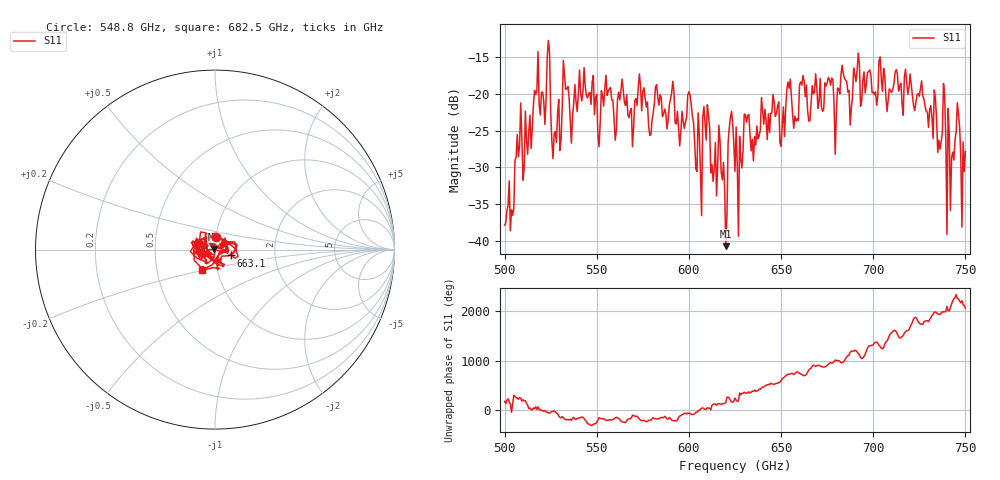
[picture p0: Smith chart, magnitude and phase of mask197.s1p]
!Created with skrf (http://scikit-rf.org).
# GHz S MA R 50.0
!freq magS11 angS11
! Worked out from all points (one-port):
!   401 points, 500 GHz to 750 GHz, reference 50 ohm
!   lowest |S11| = -40.8 dB at 620 GHz (marker M1), VSWR 1.02, Z = 49.2 + j0.393 ohm
!   |S11| at or under -10 dB: start of sweep to end of sweep
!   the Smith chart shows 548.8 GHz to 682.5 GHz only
!   S11 on the Smith chart (normalised r, x): 548.8 GHz: 1.00, +0.15; 663.1 GHz: 1.20, -0.08; 682.5 GHz: 0.84, -0.20
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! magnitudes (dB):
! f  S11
! 500 GHz  -37.9
! 516.9 GHz  -20.0
! 523.8 GHz  -12.7
! 526.9 GHz  -25.5
! 531.2 GHz  -21.9
! 548.8 GHz  -22.8
! 562.5 GHz  -20.8
! 593.8 GHz  -22.4
! 600.6 GHz  -20.1
! 605.6 GHz  -25.4
! 609.4 GHz  -26.3
! 620 GHz  -40.8
! 622.5 GHz  -23.2
! 625 GHz  -30.5
! 627.5 GHz  -25.8
! 631.2 GHz  -23.8
! 635 GHz  -29.1
! 656.2 GHz  -22.8
! 663.1 GHz  -20.4
! 680 GHz  -22.6
! 682.5 GHz  -17.3
! 687.5 GHz  -24.2
! 691.2 GHz  -16.7
! 718.8 GHz  -20.0
! 738.1 GHz  -18.6
! 741.2 GHz  -25.5
! 745.6 GHz  -21.2
! 750 GHz  -27.8
